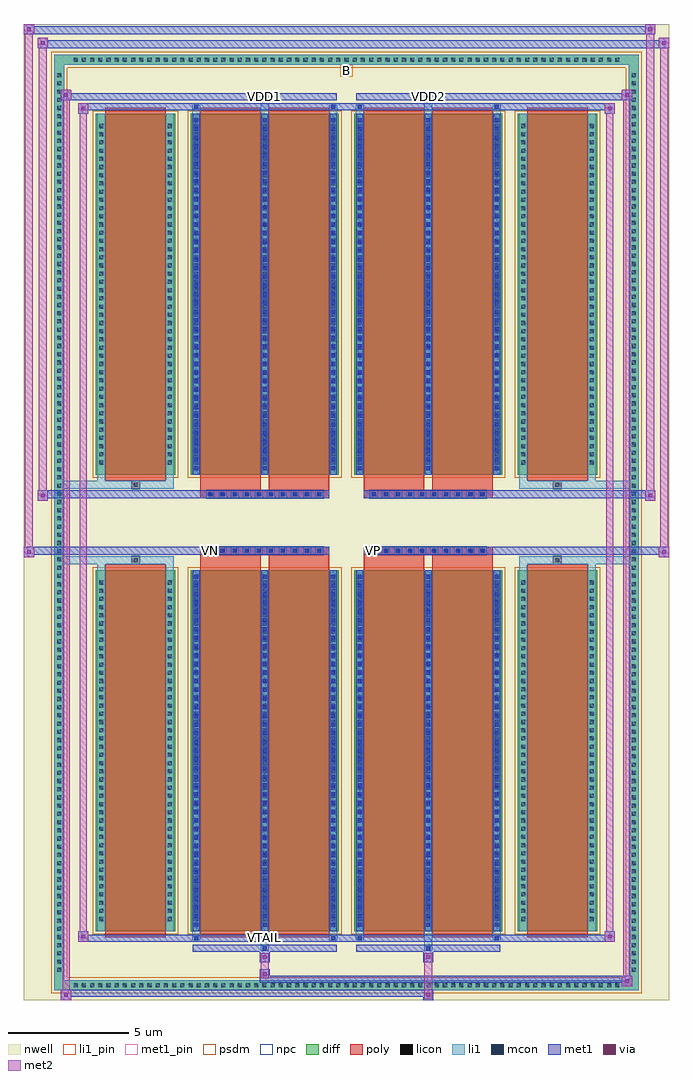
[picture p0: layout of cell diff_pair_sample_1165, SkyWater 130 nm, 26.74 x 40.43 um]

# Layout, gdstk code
import gdstk
lib = gdstk.Library(unit=1e-6, precision=5e-09)
def R(c, l, rs):  # rectangles x0, y0, x1, y1
    for r in rs: c.add(gdstk.rectangle(r[:2], r[2:], *l))
def A(c, l, x, y, w, h, nx, ny, dx, dy):  # array of equal rectangles
    R(c, l, [(x+i*dx, y+j*dy, x+i*dx+w, y+j*dy+h) for i in range(nx) for j in range(ny)])
def P(c, l, *ps):  # polygons
    for p in ps: c.add(gdstk.Polygon(p, *l))
nwell = (64, 20)
diff = (65, 20)
poly = (66, 20)
licon = (66, 44)
li1_pin = (67, 16)
li1 = (67, 20)
mcon = (67, 44)
met1_pin = (68, 16)
met1 = (68, 20)
via = (68, 44)
met2 = (69, 20)
psdm = (94, 20)
npc = (95, 20)

diff_pair_sample_1165 = lib.new_cell('diff_pair_sample_1165')
R(diff_pair_sample_1165, nwell, [(-13.37,-19.78,13.37,20.65), (-10.69,-17.97,-0.01,-0.805), (0.01,-17.97,10.69,-0.805), (-10.69,0.805,-0.01,17.97), (0.01,0.805,10.69,17.97)])
A(diff_pair_sample_1165, diff, -11.425, -19.38, 0.41, 0.41, 67, 2, 0.34, 38.35)
A(diff_pair_sample_1165, diff, -12.1, -18.735, 0.41, 0.41, 1, 110, 0, 0.34)
A(diff_pair_sample_1165, diff, 11.69, -18.735, 0.41, 0.41, 1, 110, 0, 0.34)
R(diff_pair_sample_1165, diff, [(-11.425,-19.38,11.425,-18.97), (-12.1,-18.735,-11.69,18.735), (11.69,-18.735,12.1,18.735), (-10.38,-16.925,-7.09,-1.985), (-6.45,-16.925,-0.32,-1.985), (0.32,-16.925,6.45,-1.985), (7.09,-16.925,10.38,-1.985), (-10.38,1.985,-7.09,16.925), (-6.45,1.985,-0.32,16.925), (0.32,1.985,6.45,16.925), (7.09,1.985,10.38,16.925), (-11.425,18.97,11.425,19.38)])
P(diff_pair_sample_1165, diff, [(12.1,19.38),(-12.1,19.38),(-12.1,-18.97),(-11.69,-18.97),(-11.69,18.97),(11.69,18.97),(11.69,-18.97),(-11.69,-18.97),(-12.1,-18.97),(-12.1,-19.38),(12.1,-19.38)])
A(diff_pair_sample_1165, poly, -5.8, -1.335, 0.33, 0.33, 10, 2, 0.5, 2.34)
A(diff_pair_sample_1165, poly, 0.97, -1.335, 0.33, 0.33, 10, 2, 0.5, 2.34)
R(diff_pair_sample_1165, poly, [(-9.99,-17.175,-7.48,-1.735), (-6.06,-17.175,-3.55,-1.735), (-3.22,-17.175,-0.71,-1.735), (0.71,-17.175,3.22,-1.735), (3.55,-17.175,6.06,-1.735), (7.48,-17.175,9.99,-1.735), (-8.9,-1.735,-8.57,-1.405), (-8.9,-1.735,-8.57,-1.405), (-6.06,-1.735,-3.55,-1.335), (-3.22,-1.735,-0.71,-1.335), (0.71,-1.735,3.22,-1.335), (3.55,-1.735,6.06,-1.335), (8.57,-1.735,8.9,-1.405), (8.57,-1.735,8.9,-1.405), (-6.06,-1.335,-0.71,-1.005), (0.71,-1.335,6.06,-1.005), (-6.06,1.005,-0.71,1.335), (0.71,1.005,6.06,1.335), (-6.06,1.335,-3.55,1.735), (-3.22,1.335,-0.71,1.735), (0.71,1.335,3.22,1.735), (3.55,1.335,6.06,1.735), (-8.9,1.405,-8.57,1.735), (-8.9,1.405,-8.57,1.735), (8.57,1.405,8.9,1.735), (8.57,1.405,8.9,1.735), (-9.99,1.735,-7.48,17.175), (-6.06,1.735,-3.55,17.175), (-3.22,1.735,-0.71,17.175), (0.71,1.735,3.22,17.175), (3.55,1.735,6.06,17.175), (7.48,1.735,9.99,17.175)])
A(diff_pair_sample_1165, licon, -11.305, -19.26, 0.17, 0.17, 67, 2, 0.34, 38.35)
A(diff_pair_sample_1165, licon, -11.98, -18.615, 0.17, 0.17, 1, 110, 0, 0.34)
A(diff_pair_sample_1165, licon, 11.81, -18.615, 0.17, 0.17, 1, 110, 0, 0.34)
A(diff_pair_sample_1165, licon, -10.24, -16.51, 0.17, 0.17, 1, 42, 0, 0.34)
A(diff_pair_sample_1165, licon, -7.4, -16.51, 0.17, 0.17, 1, 42, 0, 0.34)
A(diff_pair_sample_1165, licon, -6.31, -16.51, 0.17, 0.17, 3, 42, 2.84, 0.34)
A(diff_pair_sample_1165, licon, 0.46, -16.51, 0.17, 0.17, 3, 42, 2.84, 0.34)
A(diff_pair_sample_1165, licon, 7.23, -16.51, 0.17, 0.17, 1, 42, 0, 0.34)
A(diff_pair_sample_1165, licon, 10.07, -16.51, 0.17, 0.17, 1, 42, 0, 0.34)
A(diff_pair_sample_1165, licon, -5.72, -1.255, 0.17, 0.17, 10, 2, 0.5, 2.34)
A(diff_pair_sample_1165, licon, 1.05, -1.255, 0.17, 0.17, 10, 2, 0.5, 2.34)
A(diff_pair_sample_1165, licon, -10.24, 2.4, 0.17, 0.17, 1, 42, 0, 0.34)
A(diff_pair_sample_1165, licon, -7.4, 2.4, 0.17, 0.17, 1, 42, 0, 0.34)
A(diff_pair_sample_1165, licon, -6.31, 2.4, 0.17, 0.17, 3, 42, 2.84, 0.34)
A(diff_pair_sample_1165, licon, 0.46, 2.4, 0.17, 0.17, 3, 42, 2.84, 0.34)
A(diff_pair_sample_1165, licon, 7.23, 2.4, 0.17, 0.17, 1, 42, 0, 0.34)
A(diff_pair_sample_1165, licon, 10.07, 2.4, 0.17, 0.17, 1, 42, 0, 0.34)
R(diff_pair_sample_1165, licon, [(-8.82,-1.655,-8.65,-1.485), (8.65,-1.655,8.82,-1.485), (-8.82,1.485,-8.65,1.655), (8.65,1.485,8.82,1.655)])
R(diff_pair_sample_1165, li1_pin, [(-0.25,18.47,0.25,18.97)])
A(diff_pair_sample_1165, li1, -11.385, -19.34, 0.33, 0.33, 67, 2, 0.34, 38.35)
A(diff_pair_sample_1165, li1, -12.06, -18.695, 0.33, 0.33, 1, 110, 0, 0.34)
A(diff_pair_sample_1165, li1, 11.73, -18.695, 0.33, 0.33, 1, 110, 0, 0.34)
A(diff_pair_sample_1165, li1, -6.39, -16.925, 0.33, 14.94, 3, 2, 2.84, 18.91)
A(diff_pair_sample_1165, li1, 0.38, -16.925, 0.33, 14.94, 3, 2, 2.84, 18.91)
A(diff_pair_sample_1165, li1, -6.31, -16.74, 0.17, 0.17, 3, 41, 2.84, 0.36)
A(diff_pair_sample_1165, li1, -6.31, -16.74, 0.17, 14.57, 3, 2, 2.84, 18.91)
A(diff_pair_sample_1165, li1, 0.46, -16.74, 0.17, 0.17, 3, 41, 2.84, 0.36)
A(diff_pair_sample_1165, li1, 0.46, -16.74, 0.17, 14.57, 3, 2, 2.84, 18.91)
A(diff_pair_sample_1165, li1, -10.32, -16.59, 0.33, 0.33, 1, 42, 0, 0.34)
A(diff_pair_sample_1165, li1, -7.48, -16.59, 0.33, 0.33, 1, 42, 0, 0.34)
A(diff_pair_sample_1165, li1, -6.39, -16.59, 0.33, 0.33, 3, 42, 2.84, 0.34)
A(diff_pair_sample_1165, li1, 0.38, -16.59, 0.33, 0.33, 3, 42, 2.84, 0.34)
A(diff_pair_sample_1165, li1, 7.15, -16.59, 0.33, 0.33, 1, 42, 0, 0.34)
A(diff_pair_sample_1165, li1, 9.99, -16.59, 0.33, 0.33, 1, 42, 0, 0.34)
A(diff_pair_sample_1165, li1, -5.8, -1.335, 0.33, 0.33, 10, 2, 0.5, 2.34)
A(diff_pair_sample_1165, li1, 0.97, -1.335, 0.33, 0.33, 10, 2, 0.5, 2.34)
A(diff_pair_sample_1165, li1, -6.31, 2.17, 0.17, 0.17, 3, 41, 2.84, 0.36)
A(diff_pair_sample_1165, li1, 0.46, 2.17, 0.17, 0.17, 3, 41, 2.84, 0.36)
A(diff_pair_sample_1165, li1, -10.32, 2.32, 0.33, 0.33, 1, 42, 0, 0.34)
A(diff_pair_sample_1165, li1, -7.48, 2.32, 0.33, 0.33, 1, 42, 0, 0.34)
A(diff_pair_sample_1165, li1, -6.39, 2.32, 0.33, 0.33, 3, 42, 2.84, 0.34)
A(diff_pair_sample_1165, li1, 0.38, 2.32, 0.33, 0.33, 3, 42, 2.84, 0.34)
A(diff_pair_sample_1165, li1, 7.15, 2.32, 0.33, 0.33, 1, 42, 0, 0.34)
A(diff_pair_sample_1165, li1, 9.99, 2.32, 0.33, 0.33, 1, 42, 0, 0.34)
R(diff_pair_sample_1165, li1, [(-12.1,-19.38,-11.69,-18.97), (-12.1,-19.38,-11.69,-18.97), (-11.69,-19.38,11.69,-18.97), (11.69,-19.38,12.1,-18.97), (11.69,-19.38,12.1,-18.97), (-12.1,-18.97,-11.69,18.97), (11.69,-18.97,12.1,18.97), (-3.55,-17.73,-3.22,-16.925), (-3.47,-17.73,-3.3,-17.56), (3.22,-17.73,3.55,-16.925), (3.3,-17.73,3.47,-17.56), (-6.39,-17.3,-6.06,-16.925), (-6.31,-17.3,-6.14,-17.13), (-0.71,-17.3,-0.38,-16.925), (-0.63,-17.3,-0.46,-17.13), (0.38,-17.3,0.71,-16.925), (0.46,-17.3,0.63,-17.13), (6.06,-17.3,6.39,-16.925), (6.14,-17.3,6.31,-17.13), (-10.32,-16.925,-9.99,-1.985), (-7.48,-16.925,-7.15,-1.985), (7.15,-16.925,7.48,-1.985), (9.99,-16.925,10.32,-1.985), (-10.32,-1.985,-9.99,-1.405), (-7.48,-1.985,-7.15,-1.405), (7.15,-1.985,7.48,-1.405), (9.99,-1.985,10.32,-1.405), (-12.1,-1.735,-8.9,-1.405), (-10.32,-1.735,-8.9,-1.405), (-8.9,-1.735,-8.57,-1.405), (-8.57,-1.735,-7.15,-1.405), (7.15,-1.735,8.57,-1.405), (8.57,-1.735,8.9,-1.405), (8.57,-1.735,12.1,-1.405), (8.9,-1.735,10.32,-1.405), (-12.1,1.405,-8.9,1.735), (-10.32,1.405,-8.9,1.735), (-10.32,1.405,-9.99,1.985), (-8.9,1.405,-8.57,1.735), (-8.57,1.405,-7.15,1.735), (-7.48,1.405,-7.15,1.985), (7.15,1.405,8.57,1.735), (7.15,1.405,7.48,1.985), (8.57,1.405,8.9,1.735), (8.57,1.405,12.1,1.735), (8.9,1.405,10.32,1.735), (9.99,1.405,10.32,1.985), (-10.32,1.985,-9.99,16.925), (-7.48,1.985,-7.15,16.925), (7.15,1.985,7.48,16.925), (9.99,1.985,10.32,16.925), (-6.39,16.925,-6.06,17.3), (-3.55,16.925,-3.22,17.73), (-0.71,16.925,-0.38,17.3), (0.38,16.925,0.71,17.3), (3.22,16.925,3.55,17.73), (6.06,16.925,6.39,17.3), (-6.31,17.13,-6.14,17.3), (-0.63,17.13,-0.46,17.3), (0.46,17.13,0.63,17.3), (6.14,17.13,6.31,17.3), (-3.47,17.56,-3.3,17.73), (3.3,17.56,3.47,17.73), (-12.1,18.97,-11.69,19.38), (-12.1,18.97,-11.69,19.38), (-11.69,18.97,11.69,19.38), (11.69,18.97,12.1,19.38), (11.69,18.97,12.1,19.38)])
A(diff_pair_sample_1165, mcon, -6.31, -16.74, 0.17, 0.17, 3, 41, 2.84, 0.36)
A(diff_pair_sample_1165, mcon, 0.46, -16.74, 0.17, 0.17, 3, 41, 2.84, 0.36)
A(diff_pair_sample_1165, mcon, -5.72, -1.255, 0.17, 0.17, 10, 2, 0.5, 2.34)
A(diff_pair_sample_1165, mcon, 1.05, -1.255, 0.17, 0.17, 10, 2, 0.5, 2.34)
A(diff_pair_sample_1165, mcon, -6.31, 2.17, 0.17, 0.17, 3, 41, 2.84, 0.36)
A(diff_pair_sample_1165, mcon, 0.46, 2.17, 0.17, 0.17, 3, 41, 2.84, 0.36)
R(diff_pair_sample_1165, mcon, [(-3.47,-17.73,-3.3,-17.56), (3.3,-17.73,3.47,-17.56), (-6.31,-17.3,-6.14,-17.13), (-0.63,-17.3,-0.46,-17.13), (0.46,-17.3,0.63,-17.13), (6.14,-17.3,6.31,-17.13), (-6.31,17.13,-6.14,17.3), (-0.63,17.13,-0.46,17.3), (0.46,17.13,0.63,17.3), (6.14,17.13,6.31,17.3), (-3.47,17.56,-3.3,17.73), (3.3,17.56,3.47,17.73)])
R(diff_pair_sample_1165, met1_pin, [(-3.52,-17.34,-3.25,-17.07), (-5.77,-1.295,-5.5,-1.025), (1,-1.295,1.27,-1.025), (-3.52,17.52,-3.25,17.79), (3.25,17.52,3.52,17.79)])
A(diff_pair_sample_1165, met1, -6.37, -16.925, 0.29, 14.94, 3, 2, 2.84, 18.91)
A(diff_pair_sample_1165, met1, 0.4, -16.925, 0.29, 14.94, 3, 2, 2.84, 18.91)
A(diff_pair_sample_1165, met1, -6.37, -16.8, 0.29, 0.29, 3, 41, 2.84, 0.36)
A(diff_pair_sample_1165, met1, 0.4, -16.8, 0.29, 0.29, 3, 41, 2.84, 0.36)
A(diff_pair_sample_1165, met1, -5.78, -1.315, 0.29, 0.29, 10, 2, 0.5, 2.34)
A(diff_pair_sample_1165, met1, 0.99, -1.315, 0.29, 0.29, 10, 2, 0.5, 2.34)
A(diff_pair_sample_1165, met1, -6.37, 2.11, 0.29, 0.29, 3, 41, 2.84, 0.36)
A(diff_pair_sample_1165, met1, 0.4, 2.11, 0.29, 0.29, 3, 41, 2.84, 0.36)
R(diff_pair_sample_1165, met1, [(-11.83,-19.78,-11.4,-19.35), (3.17,-19.78,3.6,-19.35), (-11.83,-19.64,3.6,-19.35), (11.4,-19.21,11.83,-18.78), (-3.6,-19.07,11.83,-18.78), (-3.6,-18.93,-3.17,-18.5), (-3.6,-18.22,-3.17,-17.79), (3.17,-18.22,3.6,-17.79), (-6.37,-17.79,-0.4,-17.5), (-3.53,-17.79,-3.24,-17.5), (0.4,-17.79,6.37,-17.5), (3.24,-17.79,3.53,-17.5), (-11.12,-17.36,-10.69,-16.93), (-11.12,-17.36,-6.37,-17.07), (-6.37,-17.36,-6.08,-17.07), (-6.37,-17.36,-0.4,-17.07), (-0.69,-17.36,-0.4,-17.07), (-0.4,-17.36,0.4,-17.07), (0.4,-17.36,0.69,-17.07), (0.4,-17.36,6.37,-17.07), (6.08,-17.36,6.37,-17.07), (6.37,-17.36,11.12,-17.07), (10.69,-17.36,11.12,-16.93), (-13.37,-1.435,-12.94,-1.005), (12.94,-1.435,13.37,-1.005), (-13.37,-1.335,-0.71,-1.005), (-6.06,-1.335,-0.71,-1.005), (0.71,-1.335,6.06,-1.005), (0.71,-1.335,13.37,-1.005), (-12.8,0.905,-12.37,1.335), (12.37,0.905,12.8,1.335), (-12.8,1.005,-6.06,1.335), (-6.06,1.005,-0.71,1.335), (0.71,1.005,6.06,1.335), (6.06,1.005,12.8,1.335), (-11.12,16.93,-10.69,17.36), (10.69,16.93,11.12,17.36), (-11.12,17.07,-6.37,17.36), (-6.37,17.07,-6.08,17.36), (-6.37,17.07,-0.4,17.36), (-0.69,17.07,-0.4,17.36), (-0.4,17.07,0.4,17.36), (0.4,17.07,0.69,17.36), (0.4,17.07,6.37,17.36), (6.08,17.07,6.37,17.36), (6.37,17.07,11.12,17.36), (-11.83,17.5,-11.4,17.93), (-11.83,17.5,-6.37,17.79), (-6.37,17.5,-0.4,17.79), (-3.53,17.5,-3.24,17.79), (0.4,17.5,6.37,17.79), (3.24,17.5,3.53,17.79), (6.37,17.5,11.83,17.79), (11.4,17.5,11.83,17.93), (-12.8,19.65,-12.37,20.08), (-12.8,19.65,-10.69,19.98), (-10.69,19.65,10.69,19.98), (10.69,19.65,13.37,19.98), (12.94,19.65,13.37,20.08), (-13.37,20.22,-12.94,20.65), (-13.37,20.22,-10.69,20.55), (-10.69,20.22,10.69,20.55), (10.69,20.22,12.8,20.55), (12.37,20.22,12.8,20.65)])
R(diff_pair_sample_1165, via, [(-11.69,-19.64,-11.54,-19.49), (3.31,-19.64,3.46,-19.49), (11.54,-19.07,11.69,-18.92), (-3.46,-18.79,-3.31,-18.64), (-3.46,-18.08,-3.31,-17.93), (3.31,-18.08,3.46,-17.93), (-10.98,-17.22,-10.83,-17.07), (10.83,-17.22,10.98,-17.07), (-13.23,-1.295,-13.08,-1.145), (13.08,-1.295,13.23,-1.145), (-12.66,1.045,-12.51,1.195), (12.51,1.045,12.66,1.195), (-10.98,17.07,-10.83,17.22), (10.83,17.07,10.98,17.22), (-11.69,17.64,-11.54,17.79), (11.54,17.64,11.69,17.79), (-12.66,19.79,-12.51,19.94), (13.08,19.79,13.23,19.94), (-13.23,20.36,-13.08,20.51), (12.51,20.36,12.66,20.51)])
R(diff_pair_sample_1165, met2, [(-11.83,-19.78,-11.4,-19.35), (-11.76,-19.78,-11.47,17.93), (-11.47,-19.78,-11.4,-19.35), (-11.78,-19.73,-11.45,-19.4), (3.22,-19.73,3.55,-19.4), (3.22,-19.4,3.55,-18.17), (11.4,-19.21,11.83,-18.78), (11.47,-19.21,11.76,17.93), (11.76,-19.21,11.83,-18.78), (11.45,-19.16,11.78,-18.83), (-3.55,-18.88,-3.22,-18.55), (-3.55,-18.55,-3.22,-18.17), (-3.55,-18.17,-3.22,-17.84), (3.22,-18.17,3.55,-17.84), (-11.12,-17.36,-10.69,-16.93), (-11.05,-17.36,-10.76,17.36), (-10.76,-17.36,-10.69,-16.93), (10.69,-17.36,11.12,-16.93), (10.76,-17.36,11.05,17.36), (11.05,-17.36,11.12,-16.93), (-11.07,-17.31,-10.74,-16.98), (10.74,-17.31,11.07,-16.98), (-13.37,-1.435,-12.94,-1.005), (-13.32,-1.435,-12.99,20.65), (-12.99,-1.435,-12.94,-1.005), (12.94,-1.435,13.37,-1.005), (12.99,-1.435,13.32,20.08), (13.32,-1.435,13.37,-1.005), (-13.32,-1.385,-12.99,-1.055), (12.99,-1.385,13.32,-1.055), (-12.8,0.905,-12.37,1.335), (-12.75,0.905,-12.42,20.08), (-12.42,0.905,-12.37,1.335), (12.37,0.905,12.8,1.335), (12.42,0.905,12.75,20.65), (12.75,0.905,12.8,1.335), (-12.75,0.955,-12.42,1.285), (12.42,0.955,12.75,1.285), (-11.12,16.93,-10.69,17.36), (-10.76,16.93,-10.69,17.36), (10.69,16.93,11.12,17.36), (11.05,16.93,11.12,17.36), (-11.07,16.98,-10.74,17.31), (10.74,16.98,11.07,17.31), (-11.83,17.5,-11.4,17.93), (-11.47,17.5,-11.4,17.93), (11.4,17.5,11.83,17.93), (11.76,17.5,11.83,17.93), (-11.78,17.55,-11.45,17.88), (11.45,17.55,11.78,17.88), (-12.8,19.65,-12.37,20.08), (-12.42,19.65,-12.37,20.08), (12.94,19.65,13.37,20.08), (13.32,19.65,13.37,20.08), (-12.75,19.7,-12.42,20.03), (12.99,19.7,13.32,20.03), (-13.37,20.22,-12.94,20.65), (-12.99,20.22,-12.94,20.65), (12.37,20.22,12.8,20.65), (12.75,20.22,12.8,20.65), (-13.32,20.27,-12.99,20.6), (12.42,20.27,12.75,20.6)])
R(diff_pair_sample_1165, psdm, [(-10.51,-17.055,-6.96,-1.855), (-6.58,-17.055,-0.19,-1.855), (0.19,-17.055,6.58,-1.855), (6.96,-17.055,10.51,-1.855), (-10.51,1.855,-6.96,17.055), (-6.58,1.855,-0.19,17.055), (0.19,1.855,6.58,17.055), (6.96,1.855,10.51,17.055)])
P(diff_pair_sample_1165, psdm, [(12.23,19.51),(-12.23,19.51),(-12.23,-18.84),(-11.56,-18.84),(-11.56,18.84),(11.56,18.84),(11.56,-18.84),(-11.56,-18.84),(-12.23,-18.84),(-12.23,-19.51),(12.23,-19.51)])
A(diff_pair_sample_1165, npc, -5.82, -1.355, 0.37, 0.37, 10, 2, 0.5, 2.34)
A(diff_pair_sample_1165, npc, 0.95, -1.355, 0.37, 0.37, 10, 2, 0.5, 2.34)
R(diff_pair_sample_1165, npc, [(-8.92,-1.755,-8.55,-1.385), (8.55,-1.755,8.92,-1.385), (-5.82,-1.355,-4.95,-0.985), (-5.82,-1.355,-4.95,-0.985), (-5.32,-1.355,-4.45,-0.985), (-5.32,-1.355,-4.45,-0.985), (-4.82,-1.355,-3.95,-0.985), (-4.82,-1.355,-3.95,-0.985), (-4.32,-1.355,-3.45,-0.985), (-4.32,-1.355,-3.45,-0.985), (-3.82,-1.355,-2.95,-0.985), (-3.82,-1.355,-2.95,-0.985), (-3.32,-1.355,-2.45,-0.985), (-3.32,-1.355,-2.45,-0.985), (-2.82,-1.355,-1.95,-0.985), (-2.82,-1.355,-1.95,-0.985), (-2.32,-1.355,-1.45,-0.985), (-2.32,-1.355,-1.45,-0.985), (-1.82,-1.355,-0.95,-0.985), (-1.82,-1.355,-0.95,-0.985), (0.95,-1.355,1.82,-0.985), (0.95,-1.355,1.82,-0.985), (1.45,-1.355,2.32,-0.985), (1.45,-1.355,2.32,-0.985), (1.95,-1.355,2.82,-0.985), (1.95,-1.355,2.82,-0.985), (2.45,-1.355,3.32,-0.985), (2.45,-1.355,3.32,-0.985), (2.95,-1.355,3.82,-0.985), (2.95,-1.355,3.82,-0.985), (3.45,-1.355,4.32,-0.985), (3.45,-1.355,4.32,-0.985), (3.95,-1.355,4.82,-0.985), (3.95,-1.355,4.82,-0.985), (4.45,-1.355,5.32,-0.985), (4.45,-1.355,5.32,-0.985), (4.95,-1.355,5.82,-0.985), (4.95,-1.355,5.82,-0.985), (-5.82,0.985,-4.95,1.355), (-5.82,0.985,-4.95,1.355), (-5.32,0.985,-4.45,1.355), (-5.32,0.985,-4.45,1.355), (-4.82,0.985,-3.95,1.355), (-4.82,0.985,-3.95,1.355), (-4.32,0.985,-3.45,1.355), (-4.32,0.985,-3.45,1.355), (-3.82,0.985,-2.95,1.355), (-3.82,0.985,-2.95,1.355), (-3.32,0.985,-2.45,1.355), (-3.32,0.985,-2.45,1.355), (-2.82,0.985,-1.95,1.355), (-2.82,0.985,-1.95,1.355), (-2.32,0.985,-1.45,1.355), (-2.32,0.985,-1.45,1.355), (-1.82,0.985,-0.95,1.355), (-1.82,0.985,-0.95,1.355), (0.95,0.985,1.82,1.355), (0.95,0.985,1.82,1.355), (1.45,0.985,2.32,1.355), (1.45,0.985,2.32,1.355), (1.95,0.985,2.82,1.355), (1.95,0.985,2.82,1.355), (2.45,0.985,3.32,1.355), (2.45,0.985,3.32,1.355), (2.95,0.985,3.82,1.355), (2.95,0.985,3.82,1.355), (3.45,0.985,4.32,1.355), (3.45,0.985,4.32,1.355), (3.95,0.985,4.82,1.355), (3.95,0.985,4.82,1.355), (4.45,0.985,5.32,1.355), (4.45,0.985,5.32,1.355), (4.95,0.985,5.82,1.355), (4.95,0.985,5.82,1.355), (-8.92,1.385,-8.55,1.755), (8.55,1.385,8.92,1.755)])
diff_pair_sample_1165.add(gdstk.Label('VTAIL', (-3.385,-17.205), layer=68, texttype=5))
diff_pair_sample_1165.add(gdstk.Label('VN', (-5.635,-1.16), layer=68, texttype=5))
diff_pair_sample_1165.add(gdstk.Label('VP', (1.135,-1.16), layer=68, texttype=5))
diff_pair_sample_1165.add(gdstk.Label('B', (0,18.72), layer=67, texttype=5))
diff_pair_sample_1165.add(gdstk.Label('VDD2', (3.385,17.655), layer=68, texttype=5))
diff_pair_sample_1165.add(gdstk.Label('VDD1', (-3.385,17.655), layer=68, texttype=5))

lib.write_gds('diff_pair_sample_1165.gds')
